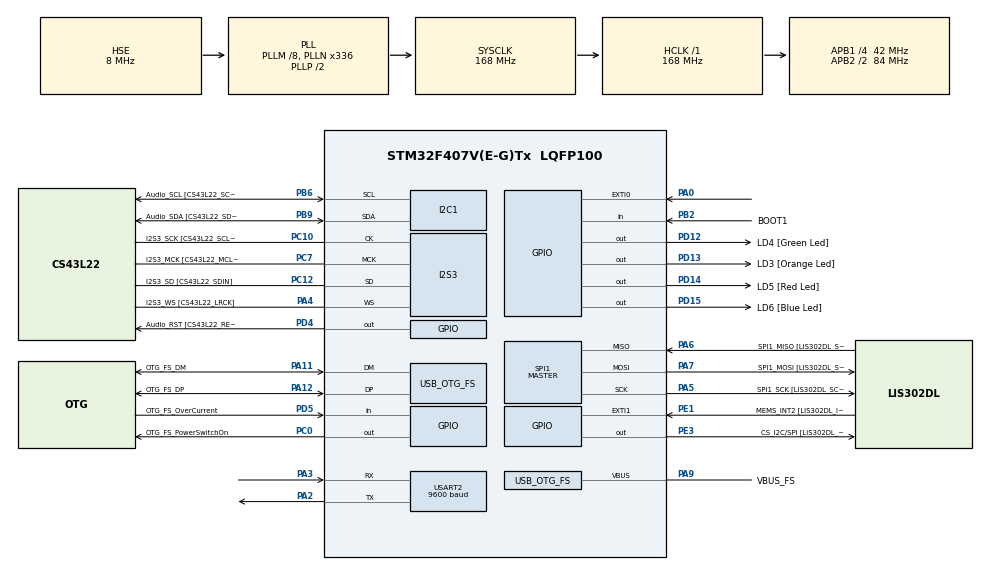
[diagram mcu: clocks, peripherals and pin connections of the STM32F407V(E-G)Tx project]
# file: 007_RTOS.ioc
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FREERTOS.Tasks01=defaultTask,0,128,StartDefaultTask,Default,NULL,Dynamic,NULL,NULL
I2S3.AudioFreq-Half_Duplex_Master=I2S_AUDIOFREQ_96K
I2S3.ErrorAudioFreq=-2.34 %
I2S3.ErrorAudioFreq-Half_Duplex_Master=0.8 %
I2S3.FullDuplexMode=I2S_FULLDUPLEXMODE_DISABLE
I2S3.Instance=SPI$Index
I2S3.RealAudioFreq=93.75 KHz
I2S3.RealAudioFreq-Half_Duplex_Master=96.774 KHz
I2S3.VirtualMode=I2S_MODE_MASTER
Mcu.Family=STM32F4
Mcu.Name=STM32F407V(E-G)Tx
Mcu.Package=LQFP100
NVIC.EXTI0_IRQn=true\:0\:0\:false\:false\:true\:false\:true\:true\:true
NVIC.OTG_FS_IRQn=true\:5\:0\:false\:false\:true\:true\:true\:true\:true
NVIC.PriorityGroup=NVIC_PRIORITYGROUP_4
PA0-WKUP.Signal=GPXTI0
PA10.GPIO_Label=OTG_FS_ID
PA10.GPIO_Mode=GPIO_MODE_AF_PP
PA10.GPIO_PuPd=GPIO_NOPULL
PA10.GPIO_Speed=GPIO_SPEED_FREQ_LOW
PA10.Signal=USB_OTG_FS_ID
PA11.GPIO_Label=OTG_FS_DM
PA11.GPIO_Mode=GPIO_MODE_AF_PP
PA11.GPIO_PuPd=GPIO_NOPULL
PA11.GPIO_Speed=GPIO_SPEED_FREQ_LOW
PA11.Mode=Host_Only
PA11.Signal=USB_OTG_FS_DM
PA12.GPIO_Label=OTG_FS_DP
PA12.GPIO_Mode=GPIO_MODE_AF_PP
PA12.GPIO_PuPd=GPIO_NOPULL
PA12.GPIO_Speed=GPIO_SPEED_FREQ_LOW
PA12.Mode=Host_Only
PA12.Signal=USB_OTG_FS_DP
PA13.GPIO_Label=SWDIO
PA13.Mode=Serial_Wire
PA13.Signal=SYS_JTMS-SWDIO
PA14.GPIO_Label=SWCLK
PA14.Mode=Serial_Wire
PA14.Signal=SYS_JTCK-SWCLK
PA2.Mode=Asynchronous
PA2.Signal=USART2_TX
PA3.Mode=Asynchronous
PA3.Signal=USART2_RX
PA4.GPIO_Label=I2S3_WS [CS43L22_LRCK]
PA4.GPIO_Mode=GPIO_MODE_AF_PP
PA4.GPIO_PuPd=GPIO_NOPULL
PA4.GPIO_Speed=GPIO_SPEED_FREQ_LOW
PA4.Mode=Half_Duplex_Master
PA4.Signal=I2S3_WS
PA5.GPIO_Label=SPI1_SCK [LIS302DL_SCL/SPC]
PA5.GPIO_Mode=GPIO_MODE_AF_PP
PA5.GPIO_PuPd=GPIO_NOPULL
PA5.GPIO_Speed=GPIO_SPEED_FREQ_LOW
PA5.Mode=Full_Duplex_Master
PA5.Signal=SPI1_SCK
PA6.GPIO_Label=SPI1_MISO [LIS302DL_SDO]
PA6.GPIO_Mode=GPIO_MODE_AF_PP
PA6.GPIO_PuPd=GPIO_NOPULL
PA6.GPIO_Speed=GPIO_SPEED_FREQ_LOW
PA6.Mode=Full_Duplex_Master
PA6.Signal=SPI1_MISO
PA7.GPIO_Label=SPI1_MOSI [LIS302DL_SDA/SDI/SDO]
PA7.GPIO_Mode=GPIO_MODE_AF_PP
PA7.GPIO_PuPd=GPIO_NOPULL
PA7.GPIO_Speed=GPIO_SPEED_FREQ_LOW
PA7.Mode=Full_Duplex_Master
PA7.Signal=SPI1_MOSI
PA9.GPIO_Label=VBUS_FS
PA9.GPIO_Mode=GPIO_MODE_INPUT
PA9.GPIO_PuPd=GPIO_NOPULL
PA9.Mode=Activate_VBUS
PA9.Signal=USB_OTG_FS_VBUS
PB10.GPIO_Label=CLK_IN [MP45DT02_CLK]
PB10.GPIO_Mode=GPIO_MODE_AF_PP
PB10.GPIO_PuPd=GPIO_NOPULL
PB10.GPIO_Speed=GPIO_SPEED_FREQ_LOW
PB10.Signal=I2S2_CK
PB2.GPIO_Label=BOOT1
PB2.GPIO_Mode=GPIO_MODE_INPUT
PB2.GPIO_PuPd=GPIO_NOPULL
PB2.Signal=GPIO_Input
PB3.GPIO_Label=SWO
PB3.Signal=SYS_JTDO-SWO
PB6.GPIO_Label=Audio_SCL [CS43L22_SCL]
PB6.GPIO_Mode=GPIO_MODE_AF_OD
PB6.GPIO_Pu=GPIO_PULLUP
PB6.GPIO_PuPd=GPIO_NOPULL
PB6.GPIO_Speed=GPIO_SPEED_FREQ_LOW
PB6.Mode=I2C
PB6.Signal=I2C1_SCL
PB9.GPIO_Label=Audio_SDA [CS43L22_SDA]
PB9.GPIO_Mode=GPIO_MODE_AF_OD
PB9.GPIO_Pu=GPIO_PULLUP
PB9.GPIO_PuPd=GPIO_NOPULL
PB9.GPIO_Speed=GPIO_SPEED_FREQ_LOW
PB9.Mode=I2C
PB9.Signal=I2C1_SDA
PC0.GPIO_Label=OTG_FS_PowerSwitchOn
PC0.GPIO_PuPd=GPIO_NOPULL
PC0.GPIO_Speed=GPIO_SPEED_FREQ_LOW
PC0.PinState=GPIO_PIN_SET
PC0.Signal=GPIO_Output
PC10.GPIO_Label=I2S3_SCK [CS43L22_SCLK]
PC10.GPIO_Mode=GPIO_MODE_AF_PP
PC10.GPIO_PuPd=GPIO_NOPULL
PC10.GPIO_Speed=GPIO_SPEED_FREQ_LOW
PC10.Mode=Half_Duplex_Master
PC10.Signal=I2S3_CK
PC12.GPIO_Label=I2S3_SD [CS43L22_SDIN]
PC12.GPIO_Mode=GPIO_MODE_AF_PP
PC12.GPIO_PuPd=GPIO_NOPULL
PC12.GPIO_Speed=GPIO_SPEED_FREQ_LOW
PC12.Mode=Half_Duplex_Master
PC12.Signal=I2S3_SD
PC14-OSC32_IN.GPIO_Label=PC14-OSC32_IN
PC14-OSC32_IN.Mode=LSE-External-Oscillator
PC14-OSC32_IN.Signal=RCC_OSC32_IN
PC15-OSC32_OUT.GPIO_Label=PC15-OSC32_OUT
PC15-OSC32_OUT.Mode=LSE-External-Oscillator
PC15-OSC32_OUT.Signal=RCC_OSC32_OUT
PC3.GPIO_Label=PDM_OUT [MP45DT02_DOUT]
PC3.GPIO_Mode=GPIO_MODE_AF_PP
PC3.GPIO_PuPd=GPIO_NOPULL
PC3.GPIO_Speed=GPIO_SPEED_FREQ_LOW
PC3.Signal=I2S2_SD
PC7.GPIO_Label=I2S3_MCK [CS43L22_MCLK]
PC7.GPIO_Mode=GPIO_MODE_AF_PP
PC7.GPIO_PuPd=GPIO_NOPULL
PC7.GPIO_Speed=GPIO_SPEED_FREQ_LOW
PC7.Mode=Master_Clock_Activated
PC7.Signal=I2S3_MCK
PD12.GPIO_Label=LD4 [Green Led]
PD12.GPIO_PuPd=GPIO_NOPULL
PD12.GPIO_Speed=GPIO_SPEED_FREQ_LOW
PD12.Signal=GPIO_Output
PD13.GPIO_Label=LD3 [Orange Led]
PD13.GPIO_PuPd=GPIO_NOPULL
PD13.GPIO_Speed=GPIO_SPEED_FREQ_LOW
PD13.Signal=GPIO_Output
PD14.GPIO_Label=LD5 [Red Led]
PD14.GPIO_PuPd=GPIO_NOPULL
PD14.GPIO_Speed=GPIO_SPEED_FREQ_LOW
PD14.Signal=GPIO_Output
PD15.GPIO_Label=LD6 [Blue Led]
PD15.GPIO_PuPd=GPIO_NOPULL
PD15.GPIO_Speed=GPIO_SPEED_FREQ_LOW
PD15.Signal=GPIO_Output
PD4.GPIO_Label=Audio_RST [CS43L22_RESET]
PD4.GPIO_PuPd=GPIO_NOPULL
PD4.GPIO_Speed=GPIO_SPEED_FREQ_LOW
PD4.Signal=GPIO_Output
PD5.GPIO_Label=OTG_FS_OverCurrent
PD5.GPIO_Mode=GPIO_MODE_INPUT
PD5.GPIO_PuPd=GPIO_NOPULL
PD5.Signal=GPIO_Input
PE1.GPIO_Label=MEMS_INT2 [LIS302DL_INT2]
PE1.GPIO_ModeDefaultEXTI=GPIO_MODE_EVT_RISING
PE1.GPIO_PuPd=GPIO_NOPULL
PE1.Signal=GPXTI1
PE3.GPIO_Label=CS_I2C/SPI [LIS302DL_CS_I2C/SPI]
PE3.GPIO_PuPd=GPIO_NOPULL
PE3.GPIO_Speed=GPIO_SPEED_FREQ_LOW
PE3.Signal=GPIO_Output
PH0-OSC_IN.GPIO_Label=PH0-OSC_IN
PH0-OSC_IN.Mode=HSE-External-Oscillator
PH0-OSC_IN.Signal=RCC_OSC_IN
PH1-OSC_OUT.GPIO_Label=PH1-OSC_OUT
PH1-OSC_OUT.Mode=HSE-External-Oscillator
PH1-OSC_OUT.Signal=RCC_OSC_OUT
ProjectManager.HeapSize=0x200
ProjectManager.StackSize=0x400
ProjectManager.TargetToolchain=MDK-ARM V5.32
RCC.48MHZClocksFreq_Value=48000000
RCC.AHBFreq_Value=168000000
RCC.APB1CLKDivider=RCC_HCLK_DIV4
RCC.APB1Freq_Value=42000000
RCC.APB1TimFreq_Value=84000000
RCC.APB2CLKDivider=RCC_HCLK_DIV2
RCC.APB2Freq_Value=84000000
RCC.APB2TimFreq_Value=168000000
RCC.CortexFreq_Value=168000000
RCC.HCLKFreq_Value=168000000
RCC.HSE_VALUE=8000000
RCC.HSI_VALUE=16000000
RCC.PLLM=8
RCC.PLLN=336
RCC.PLLQ=7
RCC.SYSCLKFreq_VALUE=168000000
RCC.SYSCLKSource=RCC_SYSCLKSOURCE_PLLCLK
RCC.VCOOutputFreq_Value=336000000
SPI1.BaudRatePrescaler-Full_Duplex_Master=SPI_BAUDRATEPRESCALER_2
SPI1.CalculateBaudRate-Full_Duplex_Master=42.0 MBits/s
SPI1.Direction=SPI_DIRECTION_2LINES
SPI1.Mode=SPI_MODE_MASTER
SPI1.Mode-Full_Duplex_Master=SPI_MODE_MASTER
SPI1.VirtualType=VM_MASTER
USART2.BaudRate=9600
USART2.VirtualMode=VM_ASYNC
USB_HOST.BSP.number=1
USB_HOST.USBH_HandleTypeDef-CDC_FS=hUsbHostFS
USB_HOST.USBH_USE_OS-CDC_FS=0
USB_HOST.VirtualModeFS=Cdc
USB_HOST0.BSP.STBoard=false
USB_HOST0.BSP.api=Unknown
USB_HOST0.BSP.instance=PC0
USB_HOST0.BSP.ip=GPIO
USB_HOST0.BSP.mode=Output
USB_HOST0.BSP.name=Drive_VBUS_FS
USB_HOST0.BSP.solution=PC0
USB_OTG_FS.VirtualMode=Host_Only
USB_OTG_FS.phy_itface=HCD_PHY_EMBEDDED
VP_FREERTOS_VS_CMSIS_V1.Mode=CMSIS_V1
VP_USB_HOST_VS_USB_HOST_CDC_FS.Mode=CDC_FS
board=STM32F407G-DISC1

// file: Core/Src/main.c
/* USER CODE BEGIN Header */
/**
  ******************************************************************************
  * @file           : main.c
  * @brief          : Main program body
  ******************************************************************************
  * @attention
  *
  * Copyright (c) 2022 STMicroelectronics.
  * All rights reserved.
  *
  * This software is licensed under terms that can be found in the LICENSE file
  * in the root directory of this software component.
  * If no LICENSE file comes with this software, it is provided AS-IS.
  *
  ******************************************************************************
  */
/* USER CODE END Header */
#include "main.h"
#include "cmsis_os.h"
#include "usb_host.h"

/* USER CODE BEGIN Includes */
#include "stdio.h"
/* USER CODE END Includes */

/* USER CODE BEGIN PD */

typedef enum
{ false , true }bool;

bool task_flag1 = true;
bool task_flag2 = false;

uint8_t buttonCount = 0;

TaskHandle_t myButtonTaskHandle = NULL;
TaskHandle_t myLedTaskHandle	  = NULL;

char buffer[30] = {0};

/* USER CODE END PD */

I2C_HandleTypeDef hi2c1;

I2S_HandleTypeDef hi2s3;

SPI_HandleTypeDef hspi1;

UART_HandleTypeDef huart2;

osThreadId defaultTaskHandle;

void SystemClock_Config(void);
static void MX_GPIO_Init(void);
static void MX_I2C1_Init(void);
static void MX_I2S3_Init(void);
static void MX_SPI1_Init(void);
static void MX_USART2_UART_Init(void);
void StartDefaultTask(void const * argument);

/* USER CODE BEGIN 0 */

void myButtonTaskHandler(void *params);
void myLedTaskHandler			  (void *params);

int write(int file, char *ptr, int len)
{

	for (int i = 0; i < len; i++)
	{
		ITM_SendChar((*ptr++));
	}
	return len;
}

/* USER CODE END 0 */

int main(void)
{
  /* USER CODE BEGIN 1 */

	DWT->CTRL |= ( 1 << 0 );
  /* USER CODE END 1 */

  /* MCU Configuration--------------------------------------------------------*/

  /* Reset of all peripherals, Initializes the Flash interface and the Systick. */
  HAL_Init();

  /* Configure the system clock */
  SystemClock_Config();

  /* Initialize all configured peripherals */
  MX_GPIO_Init();
  MX_I2C1_Init();
  MX_I2S3_Init();
  MX_SPI1_Init();
  MX_USART2_UART_Init();
  /* USER CODE BEGIN 2 */

		//SEGGER_SYSVIEW_Conf();
 	  //vSetVarulMaxPRIGROUPValuE();
  	//SEGGER_SYSVIEW_Start();

	xTaskCreate(myButtonTaskHandler, "Buton okuma taski", configMINIMAL_STACK_SIZE, NULL, 4, &myButtonTaskHandle);

	xTaskCreate(myLedTaskHandler, 		"Led yakma taski", 	 configMINIMAL_STACK_SIZE, NULL, 4, &myLedTaskHandle);

	vTaskStartScheduler();

  /* USER CODE END 2 */

  /* Create the thread(s) */
  /* definition and creation of defaultTask */
  osThreadDef(defaultTask, StartDefaultTask, osPriorityNormal, 0, 128);
  defaultTaskHandle = osThreadCreate(osThread(defaultTask), NULL);

  /* Start scheduler */
  osKernelStart();

  /* We should never get here as control is now taken by the scheduler */
  /* Infinite loop */
  while (1)
  {

  }
}

void SystemClock_Config(void)
{
  RCC_OscInitTypeDef RCC_OscInitStruct = {0};
  RCC_ClkInitTypeDef RCC_ClkInitStruct = {0};

  /** Configure the main internal regulator output voltage
  */
  __HAL_RCC_PWR_CLK_ENABLE();
  __HAL_PWR_VOLTAGESCALING_CONFIG(PWR_REGULATOR_VOLTAGE_SCALE1);

  /** Initializes the RCC Oscillators according to the specified parameters
  * in the RCC_OscInitTypeDef structure.
  */
  RCC_OscInitStruct.OscillatorType = RCC_OSCILLATORTYPE_HSE;
  RCC_OscInitStruct.HSEState = RCC_HSE_ON;
  RCC_OscInitStruct.PLL.PLLState = RCC_PLL_ON;
  RCC_OscInitStruct.PLL.PLLSource = RCC_PLLSOURCE_HSE;
  RCC_OscInitStruct.PLL.PLLM = 8;
  RCC_OscInitStruct.PLL.PLLN = 336;
  RCC_OscInitStruct.PLL.PLLP = RCC_PLLP_DIV2;
  RCC_OscInitStruct.PLL.PLLQ = 7;
  if (HAL_RCC_OscConfig(&RCC_OscInitStruct) != HAL_OK)
  {
    Error_Handler();
  }

  /** Initializes the CPU, AHB and APB buses clocks
  */
  RCC_ClkInitStruct.ClockType = RCC_CLOCKTYPE_HCLK|RCC_CLOCKTYPE_SYSCLK
                              |RCC_CLOCKTYPE_PCLK1|RCC_CLOCKTYPE_PCLK2;
  RCC_ClkInitStruct.SYSCLKSource = RCC_SYSCLKSOURCE_PLLCLK;
  RCC_ClkInitStruct.AHBCLKDivider = RCC_SYSCLK_DIV1;
  RCC_ClkInitStruct.APB1CLKDivider = RCC_HCLK_DIV4;
  RCC_ClkInitStruct.APB2CLKDivider = RCC_HCLK_DIV2;

  if (HAL_RCC_ClockConfig(&RCC_ClkInitStruct, FLASH_LATENCY_5) != HAL_OK)
  {
    Error_Handler();
  }
}

static void MX_I2C1_Init(void)
{

  hi2c1.Instance = I2C1;
  hi2c1.Init.ClockSpeed = 100000;
  hi2c1.Init.DutyCycle = I2C_DUTYCYCLE_2;
  hi2c1.Init.OwnAddress1 = 0;
  hi2c1.Init.AddressingMode = I2C_ADDRESSINGMODE_7BIT;
  hi2c1.Init.DualAddressMode = I2C_DUALADDRESS_DISABLE;
  hi2c1.Init.OwnAddress2 = 0;
  hi2c1.Init.GeneralCallMode = I2C_GENERALCALL_DISABLE;
  hi2c1.Init.NoStretchMode = I2C_NOSTRETCH_DISABLE;
  if (HAL_I2C_Init(&hi2c1) != HAL_OK)
  {
    Error_Handler();
  }

}

static void MX_I2S3_Init(void)
{

  hi2s3.Instance = SPI3;
  hi2s3.Init.Mode = I2S_MODE_MASTER_TX;
  hi2s3.Init.Standard = I2S_STANDARD_PHILIPS;
  hi2s3.Init.DataFormat = I2S_DATAFORMAT_16B;
  hi2s3.Init.MCLKOutput = I2S_MCLKOUTPUT_ENABLE;
  hi2s3.Init.AudioFreq = I2S_AUDIOFREQ_96K;
  hi2s3.Init.CPOL = I2S_CPOL_LOW;
  hi2s3.Init.ClockSource = I2S_CLOCK_PLL;
  hi2s3.Init.FullDuplexMode = I2S_FULLDUPLEXMODE_DISABLE;
  if (HAL_I2S_Init(&hi2s3) != HAL_OK)
  {
    Error_Handler();
  }

}

static void MX_SPI1_Init(void)
{

  /* SPI1 parameter configuration*/
  hspi1.Instance = SPI1;
  hspi1.Init.Mode = SPI_MODE_MASTER;
  hspi1.Init.Direction = SPI_DIRECTION_2LINES;
  hspi1.Init.DataSize = SPI_DATASIZE_8BIT;
  hspi1.Init.CLKPolarity = SPI_POLARITY_LOW;
  hspi1.Init.CLKPhase = SPI_PHASE_1EDGE;
  hspi1.Init.NSS = SPI_NSS_SOFT;
  hspi1.Init.BaudRatePrescaler = SPI_BAUDRATEPRESCALER_2;
  hspi1.Init.FirstBit = SPI_FIRSTBIT_MSB;
  hspi1.Init.TIMode = SPI_TIMODE_DISABLE;
  hspi1.Init.CRCCalculation = SPI_CRCCALCULATION_DISABLE;
  hspi1.Init.CRCPolynomial = 10;
  if (HAL_SPI_Init(&hspi1) != HAL_OK)
  {
    Error_Handler();
  }

}

static void MX_USART2_UART_Init(void)
{

  huart2.Instance = USART2;
  huart2.Init.BaudRate = 9600;
  huart2.Init.WordLength = UART_WORDLENGTH_8B;
  huart2.Init.StopBits = UART_STOPBITS_1;
  huart2.Init.Parity = UART_PARITY_NONE;
  huart2.Init.Mode = UART_MODE_TX_RX;
  huart2.Init.HwFlowCtl = UART_HWCONTROL_NONE;
  huart2.Init.OverSampling = UART_OVERSAMPLING_16;
  if (HAL_UART_Init(&huart2) != HAL_OK)
  {
    Error_Handler();
  }

}

static void MX_GPIO_Init(void)
{
  GPIO_InitTypeDef GPIO_InitStruct = {0};

  /* GPIO Ports Clock Enable */
  __HAL_RCC_GPIOE_CLK_ENABLE();
  __HAL_RCC_GPIOC_CLK_ENABLE();
  __HAL_RCC_GPIOH_CLK_ENABLE();
  __HAL_RCC_GPIOA_CLK_ENABLE();
  __HAL_RCC_GPIOB_CLK_ENABLE();
  __HAL_RCC_GPIOD_CLK_ENABLE();

  /*Configure GPIO pin Output Level */
  HAL_GPIO_WritePin(CS_I2C_SPI_GPIO_Port, CS_I2C_SPI_Pin, GPIO_PIN_RESET);

  /*Configure GPIO pin Output Level */
  HAL_GPIO_WritePin(OTG_FS_PowerSwitchOn_GPIO_Port, OTG_FS_PowerSwitchOn_Pin, GPIO_PIN_SET);

  /*Configure GPIO pin Output Level */
  HAL_GPIO_WritePin(GPIOD, LD4_Pin|LD3_Pin|LD5_Pin|LD6_Pin
                          |Audio_RST_Pin, GPIO_PIN_RESET);

  /*Configure GPIO pin : CS_I2C_SPI_Pin */
  GPIO_InitStruct.Pin = CS_I2C_SPI_Pin;
  GPIO_InitStruct.Mode = GPIO_MODE_OUTPUT_PP;
  GPIO_InitStruct.Pull = GPIO_NOPULL;
  GPIO_InitStruct.Speed = GPIO_SPEED_FREQ_LOW;
  HAL_GPIO_Init(CS_I2C_SPI_GPIO_Port, &GPIO_InitStruct);

  /*Configure GPIO pin : OTG_FS_PowerSwitchOn_Pin */
  GPIO_InitStruct.Pin = OTG_FS_PowerSwitchOn_Pin;
  GPIO_InitStruct.Mode = GPIO_MODE_OUTPUT_PP;
  GPIO_InitStruct.Pull = GPIO_NOPULL;
  GPIO_InitStruct.Speed = GPIO_SPEED_FREQ_LOW;
  HAL_GPIO_Init(OTG_FS_PowerSwitchOn_GPIO_Port, &GPIO_InitStruct);

  /*Configure GPIO pin : PDM_OUT_Pin */
  GPIO_InitStruct.Pin = PDM_OUT_Pin;
  GPIO_InitStruct.Mode = GPIO_MODE_AF_PP;
  GPIO_InitStruct.Pull = GPIO_NOPULL;
  GPIO_InitStruct.Speed = GPIO_SPEED_FREQ_LOW;
  GPIO_InitStruct.Alternate = GPIO_AF5_SPI2;
  HAL_GPIO_Init(PDM_OUT_GPIO_Port, &GPIO_InitStruct);

  /*Configure GPIO pin : PA0 */
  GPIO_InitStruct.Pin = GPIO_PIN_0;
  GPIO_InitStruct.Mode = GPIO_MODE_IT_RISING;
  GPIO_InitStruct.Pull = GPIO_NOPULL;
  HAL_GPIO_Init(GPIOA, &GPIO_InitStruct);

  /*Configure GPIO pin : BOOT1_Pin */
  GPIO_InitStruct.Pin = BOOT1_Pin;
  GPIO_InitStruct.Mode = GPIO_MODE_INPUT;
  GPIO_InitStruct.Pull = GPIO_NOPULL;
  HAL_GPIO_Init(BOOT1_GPIO_Port, &GPIO_InitStruct);

  /*Configure GPIO pin : CLK_IN_Pin */
  GPIO_InitStruct.Pin = CLK_IN_Pin;
  GPIO_InitStruct.Mode = GPIO_MODE_AF_PP;
  GPIO_InitStruct.Pull = GPIO_NOPULL;
  GPIO_InitStruct.Speed = GPIO_SPEED_FREQ_LOW;
  GPIO_InitStruct.Alternate = GPIO_AF5_SPI2;
  HAL_GPIO_Init(CLK_IN_GPIO_Port, &GPIO_InitStruct);

  /*Configure GPIO pins : LD4_Pin LD3_Pin LD5_Pin LD6_Pin
                           Audio_RST_Pin */
  GPIO_InitStruct.Pin = LD4_Pin|LD3_Pin|LD5_Pin|LD6_Pin
                          |Audio_RST_Pin;
  GPIO_InitStruct.Mode = GPIO_MODE_OUTPUT_PP;
  GPIO_InitStruct.Pull = GPIO_NOPULL;
  GPIO_InitStruct.Speed = GPIO_SPEED_FREQ_LOW;
  HAL_GPIO_Init(GPIOD, &GPIO_InitStruct);

  /*Configure GPIO pin : OTG_FS_OverCurrent_Pin */
  GPIO_InitStruct.Pin = OTG_FS_OverCurrent_Pin;
  GPIO_InitStruct.Mode = GPIO_MODE_INPUT;
  GPIO_InitStruct.Pull = GPIO_NOPULL;
  HAL_GPIO_Init(OTG_FS_OverCurrent_GPIO_Port, &GPIO_InitStruct);

  /*Configure GPIO pin : MEMS_INT2_Pin */
  GPIO_InitStruct.Pin = MEMS_INT2_Pin;
  GPIO_InitStruct.Mode = GPIO_MODE_EVT_RISING;
  GPIO_InitStruct.Pull = GPIO_NOPULL;
  HAL_GPIO_Init(MEMS_INT2_GPIO_Port, &GPIO_InitStruct);

  /* EXTI interrupt init*/
  HAL_NVIC_SetPriority(EXTI0_IRQn, 0, 0);
  HAL_NVIC_EnableIRQ(EXTI0_IRQn);

}

/* USER CODE BEGIN 4 */

void myButtonTaskHandler(void *params) {

	while (1)
	{

		if( HAL_GPIO_ReadPin(GPIOA , GPIO_PIN_0) == GPIO_PIN_SET )
		{
			while(HAL_GPIO_ReadPin(GPIOA , GPIO_PIN_0) == GPIO_PIN_SET);
			buttonCount++;
		}

	}

}

void myLedTaskHandler(void *params) {

	while (1)
	{

		if(buttonCount == 0)
		{
				HAL_GPIO_WritePin(GPIOD, GPIO_PIN_All, GPIO_PIN_RESET);
		}
		else if(buttonCount == 1)
		{
			HAL_GPIO_WritePin(GPIOD, GPIO_PIN_All, GPIO_PIN_SET);
			vTaskDelay(100);
			HAL_GPIO_WritePin(GPIOD, GPIO_PIN_All, GPIO_PIN_RESET);
			vTaskDelay(100);
		}
		else if(buttonCount == 2)
		{
			HAL_GPIO_WritePin(GPIOD, GPIO_PIN_All, GPIO_PIN_SET);
			vTaskDelay(250);
			HAL_GPIO_WritePin(GPIOD, GPIO_PIN_All, GPIO_PIN_RESET);
			vTaskDelay(250);
		}
		else if(buttonCount == 3)
		{
			HAL_GPIO_WritePin(GPIOD, GPIO_PIN_All, GPIO_PIN_SET);
			vTaskDelay(500);
			HAL_GPIO_WritePin(GPIOD, GPIO_PIN_All, GPIO_PIN_RESET);
			vTaskDelay(500);
		}
		else if(buttonCount == 4)
		{
			HAL_GPIO_WritePin(GPIOD, GPIO_PIN_All, GPIO_PIN_SET);
			vTaskDelay(1000);
			HAL_GPIO_WritePin(GPIOD, GPIO_PIN_All, GPIO_PIN_RESET);
			vTaskDelay(1000);
		}
		else
		{
			HAL_GPIO_WritePin(GPIOD, GPIO_PIN_All, GPIO_PIN_SET);
			vTaskDelay(2000);
			HAL_GPIO_WritePin(GPIOD, GPIO_PIN_All, GPIO_PIN_RESET);
			vTaskDelay(2000);

			buttonCount = 0;
		}

	}
}

/* USER CODE END 4 */

void StartDefaultTask(void const * argument)
{
  /* init code for USB_HOST */
  MX_USB_HOST_Init();
  for(;;)
  {
    osDelay(1);
  }
}

void Error_Handler(void)
{
  __disable_irq();
  while (1)
  {
  }
}
